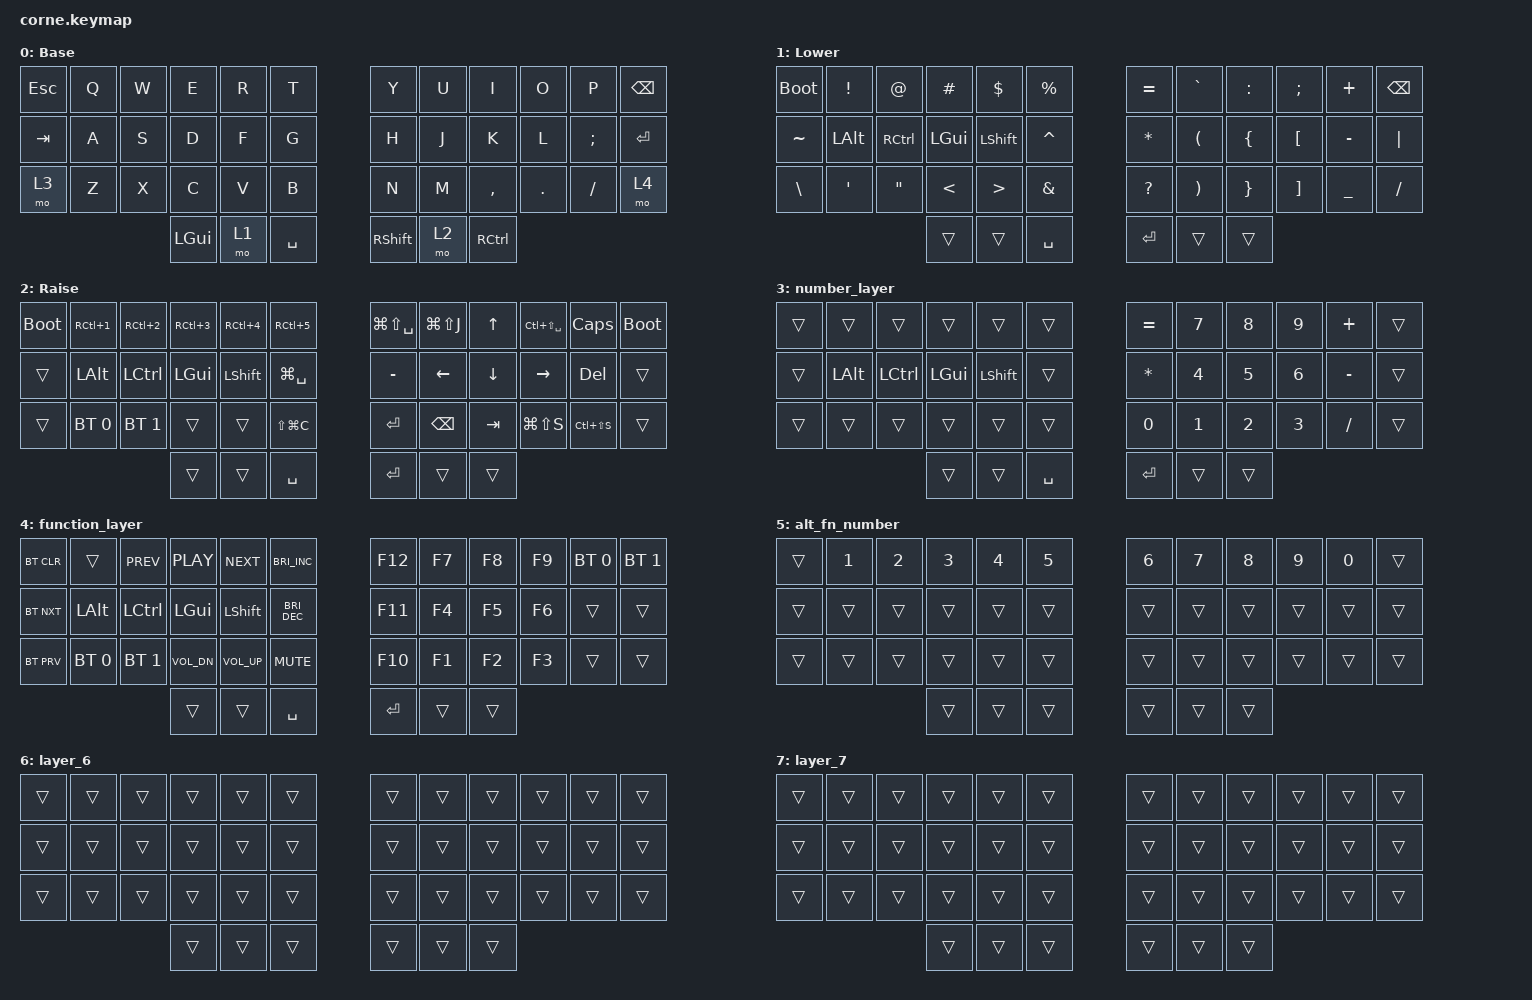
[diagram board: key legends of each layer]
/*
 * Copyright (c) 2020 The ZMK Contributors
 *
 * SPDX-License-Identifier: MIT
 *
 */

#include <behaviors.dtsi>
#include <dt-bindings/zmk/bt.h>
#include <dt-bindings/zmk/keys.h>

/ {
    combos {
        compatible = "zmk,combos";

        hyper {
            bindings = <&kp LS(LA(LC(LEFT_GUI)))>;
            key-positions = <38 39>;
        };

        alt {
            bindings = <&kp LEFT_ALT>;
            key-positions = <37 40>;
        };
    };

    keymap {
        compatible = "zmk,keymap";

        default_layer {
            // -----------------------------------------------------------------------------------------
            // |  TAB |  Q  |  W  |  E  |  R  |  T  |   |  Y  |  U   |  I  |  O  |  P  | BKSP |
            // | CTRL |  A  |  S  |  D  |  F  |  G  |   |  H  |  J   |  K  |  L  |  ;  |  '   |
            // | SHFT |  Z  |  X  |  C  |  V  |  B  |   |  N  |  M   |  ,  |  .  |  /  | ESC  |
            //                    | GUI | LWR | SPC |   | ENT | RSE  | ALT |

            label = "Base";
            bindings = <
&kp ESCAPE  &kp Q  &kp W  &kp E     &kp R  &kp T        &kp Y            &kp U  &kp I              &kp O    &kp P     &kp BSPC
&kp TAB     &kp A  &kp S  &kp D     &kp F  &kp G        &kp H            &kp J  &kp K              &kp L    &kp SEMI  &kp ENTER
&mo 3       &kp Z  &kp X  &kp C     &kp V  &kp B        &kp N            &kp M  &kp COMMA          &kp DOT  &kp FSLH  &mo 4
                          &kp LGUI  &mo 1  &kp SPACE    &kp RIGHT_SHIFT  &mo 2  &kp RIGHT_CONTROL
            >;
        };

        lower_layer {
            // -----------------------------------------------------------------------------------------
            // |  TAB |  1  |  2  |  3  |  4  |  5  |   |  6  |  7  |  8  |  9  |  0  | BKSP |
            // | BTCLR| BT1 | BT2 | BT3 | BT4 | BT5 |   | LFT | DWN |  UP | RGT |     |      |
            // | SHFT |     |     |     |     |     |   |     |     |     |     |     |      |
            //                    |BTCLR|     | SPC |   | ENT |     | ALT |

            label = "Lower";
            bindings = <
&bootloader    &kp EXCLAMATION  &kp AT_SIGN        &kp HASH       &kp DOLLAR        &kp PERCENT      &kp EQUAL     &kp GRAVE              &kp COLON        &kp SEMICOLON      &kp PLUS        &kp BSPC
&kp TILDE      &kp LEFT_ALT     &kp RIGHT_CONTROL  &kp LEFT_GUI   &kp LEFT_SHIFT    &kp CARET        &kp ASTERISK  &kp LEFT_PARENTHESIS   &kp LEFT_BRACE   &kp LEFT_BRACKET   &kp MINUS       &kp PIPE
&kp BACKSLASH  &kp SQT          &kp DOUBLE_QUOTES  &kp LESS_THAN  &kp GREATER_THAN  &kp AMPERSAND    &kp QUESTION  &kp RIGHT_PARENTHESIS  &kp RIGHT_BRACE  &kp RIGHT_BRACKET  &kp UNDERSCORE  &kp SLASH
                                                   &trans         &trans            &kp SPACE        &kp RET       &trans                 &trans
            >;
        };

        raise_layer {
            // -----------------------------------------------------------------------------------------
            // |  TAB |  !  |  @  |  #  |  $  |  %  |   |  ^  |  &  |  *  |  (  |  )  | BKSP |
            // | CTRL |     |     |     |     |     |   |  -  |  =  |  [  |  ]  |  \  |  `   |
            // | SHFT |     |     |     |     |     |   |  _  |  +  |  {  |  }  | "|" |  ~   |
            //                    | GUI |     | SPC |   | ENT |     | ALT |

            label = "Raise";
            bindings = <
&bootloader  &kp RC(NUMBER_1)  &kp RC(NUMBER_2)  &kp RC(NUMBER_3)  &kp RC(NUMBER_4)  &kp RC(N5)       &kp LG(LS(SPACE))  &kp LG(LS(J))  &kp UP_ARROW  &kp LC(LS(SPACE))  &kp CLCK       &bootloader
&trans       &kp LEFT_ALT      &kp LEFT_CONTROL  &kp LEFT_GUI      &kp LEFT_SHIFT    &kp LG(SPACE)    &kp MINUS          &kp LEFT       &kp DOWN      &kp RIGHT          &kp DELETE     &trans
&trans       &bt BT_SEL 0      &bt BT_SEL 1      &trans            &trans            &kp LS(LG(C))    &kp ENTER          &kp BACKSPACE  &kp TAB       &kp LG(LS(S))      &kp LC(LS(S))  &trans
                                                 &trans            &trans            &kp SPACE        &kp RET            &trans         &trans
            >;
        };

        number_layer {
            bindings = <
&trans  &trans        &trans            &trans        &trans          &trans       &kp EQUAL     &kp N7        &kp N8        &kp N9        &kp PLUS   &trans
&trans  &kp LEFT_ALT  &kp LEFT_CONTROL  &kp LEFT_GUI  &kp LEFT_SHIFT  &trans       &kp ASTERISK  &kp NUMBER_4  &kp N5        &kp NUMBER_6  &kp MINUS  &trans
&trans  &trans        &trans            &trans        &trans          &trans       &kp N0        &kp NUMBER_1  &kp NUMBER_2  &kp NUMBER_3  &kp SLASH  &trans
                                        &trans        &trans          &kp SPACE    &kp ENTER     &trans        &trans
            >;
        };

        function_layer {
            bindings = <
&bt BT_CLR  &trans        &kp C_PREV        &kp C_PLAY    &kp C_NEXT       &kp C_BRIGHTNESS_INC    &kp F12    &kp F7  &kp F8  &kp F9  &bt BT_SEL 0  &bt BT_SEL 1
&bt BT_NXT  &kp LEFT_ALT  &kp LEFT_CONTROL  &kp LEFT_GUI  &kp LEFT_SHIFT   &kp C_BRIGHTNESS_DEC    &kp F11    &kp F4  &kp F5  &kp F6  &trans        &trans
&bt BT_PRV  &bt BT_SEL 0  &bt BT_SEL 1      &kp C_VOL_DN  &kp C_VOLUME_UP  &kp C_MUTE              &kp F10    &kp F1  &kp F2  &kp F3  &trans        &trans
                                            &trans        &trans           &kp SPACE               &kp ENTER  &trans  &trans
            >;
        };

        alt_fn_number {
            bindings = <
&trans  &kp N1  &kp N2  &kp N3  &kp N4  &kp N5    &kp N6  &kp N7  &kp N8  &kp N9  &kp N0  &trans
&trans  &trans  &trans  &trans  &trans  &trans    &trans  &trans  &trans  &trans  &trans  &trans
&trans  &trans  &trans  &trans  &trans  &trans    &trans  &trans  &trans  &trans  &trans  &trans
                        &trans  &trans  &trans    &trans  &trans  &trans
            >;
        };

        layer_6 {
            bindings = <
&trans  &trans  &trans  &trans  &trans  &trans    &trans  &trans  &trans  &trans  &trans  &trans
&trans  &trans  &trans  &trans  &trans  &trans    &trans  &trans  &trans  &trans  &trans  &trans
&trans  &trans  &trans  &trans  &trans  &trans    &trans  &trans  &trans  &trans  &trans  &trans
                        &trans  &trans  &trans    &trans  &trans  &trans
            >;
        };

        layer_7 {
            bindings = <
&trans  &trans  &trans  &trans  &trans  &trans    &trans  &trans  &trans  &trans  &trans  &trans
&trans  &trans  &trans  &trans  &trans  &trans    &trans  &trans  &trans  &trans  &trans  &trans
&trans  &trans  &trans  &trans  &trans  &trans    &trans  &trans  &trans  &trans  &trans  &trans
                        &trans  &trans  &trans    &trans  &trans  &trans
            >;
        };
    };
};
